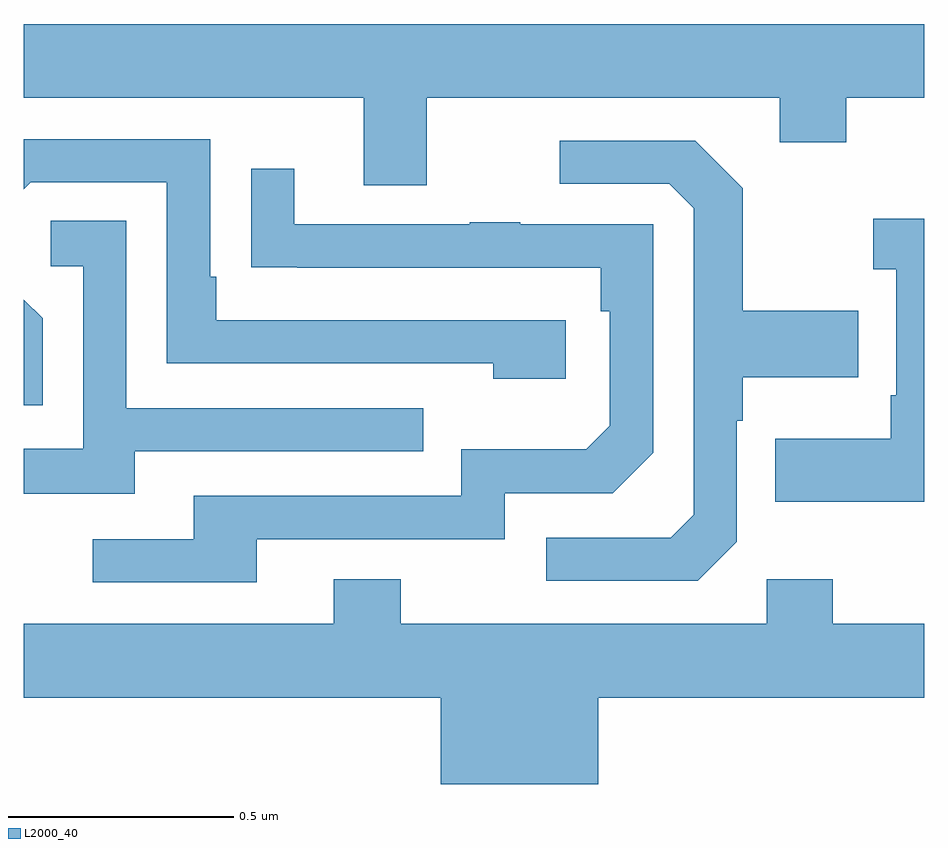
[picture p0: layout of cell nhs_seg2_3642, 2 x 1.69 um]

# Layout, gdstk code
import gdstk
lib = gdstk.Library(unit=1e-6, precision=1e-09)
def P(c, l, *ps):  # polygons
    for p in ps: c.add(gdstk.Polygon(p, *l))
L2000_40 = (2000, 40)

nhs_seg2_3642 = lib.new_cell('nhs_seg2_3642')
P(nhs_seg2_3642, L2000_40, [(156.895,626.324),(157.679,626.324),(157.679,626.225),(157.827,626.225),(157.827,626.324),(158,626.324),(158,626.488),(156,626.488),(156,626.324),(156.755,626.324),(156.755,626.13),(156.895,626.13)],
  [(157.204,625.83),(156.427,625.83),(156.427,625.927),(156.414,625.927),(156.414,626.232),(156,626.232),(156,626.121),(156.015,626.136),(156.318,626.136),(156.318,625.734),(157.043,625.734),(157.043,625.7),(157.204,625.7)],
  [(157.584,625.338),(157.584,625.607),(157.597,625.607),(157.597,625.703),(157.853,625.703),(157.853,625.851),(157.597,625.851),(157.597,626.123),(157.491,626.229),(157.191,626.229),(157.191,626.133),(157.434,626.133),(157.488,626.079),(157.488,625.398),(157.437,625.347),(157.161,625.347),(157.161,625.251),(157.497,625.251)],
  [(156.517,625.344),(157.068,625.344),(157.068,625.446),(157.308,625.446),(157.398,625.536),(157.398,626.043),(157.103,626.043),(157.103,626.048),(156.991,626.048),(156.991,626.043),(156.601,626.043),(156.601,626.167),(156.505,626.167),(156.505,625.948),(156.607,625.948),(156.607,625.947),(157.282,625.947),(157.282,625.85),(157.302,625.85),(157.302,625.596),(157.249,625.543),(156.972,625.543),(156.972,625.44),(156.377,625.44),(156.377,625.344),(156.153,625.344),(156.153,625.248),(156.517,625.248)],
  [(158,626.056),(157.887,626.056),(157.887,625.943),(157.938,625.943),(157.938,625.663),(157.926,625.663),(157.926,625.567),(157.669,625.567),(157.669,625.427),(158,625.427)],
  [(156.247,625.539),(156.887,625.539),(156.887,625.635),(156.228,625.635),(156.228,626.051),(156.06,626.051),(156.06,625.95),(156.132,625.95),(156.132,625.545),(156,625.545),(156,625.445),(156.247,625.445)],
  [(156.042,625.834),(156,625.876),(156,625.641),(156.042,625.641)],
  [(157.276,624.992),(158,624.992),(158,625.156),(157.797,625.156),(157.797,625.255),(157.65,625.255),(157.65,625.156),(156.837,625.156),(156.837,625.255),(156.689,625.255),(156.689,625.156),(156,625.156),(156,624.992),(156.926,624.992),(156.926,624.8),(157.276,624.8)])

lib.write_gds('nhs_seg2_3642.gds')
